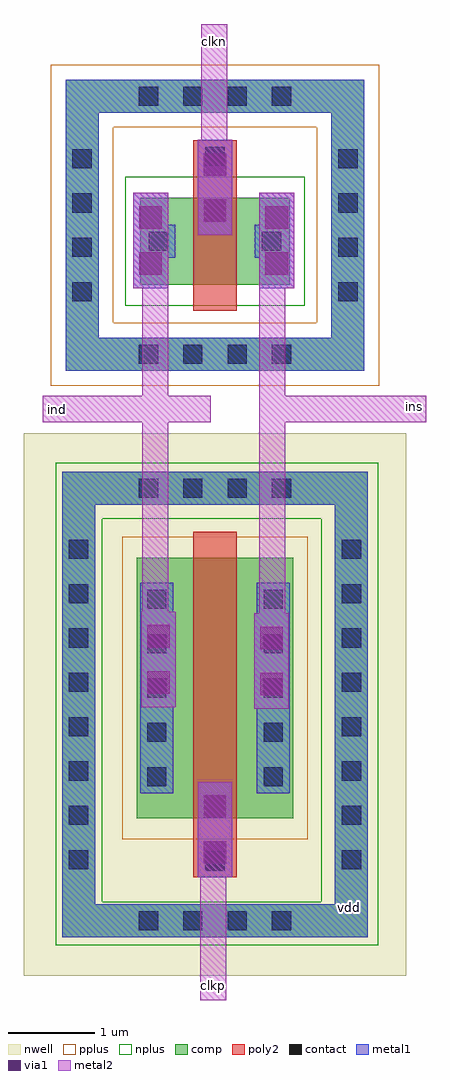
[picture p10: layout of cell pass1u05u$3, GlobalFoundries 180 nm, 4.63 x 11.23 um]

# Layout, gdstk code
import gdstk
lib = gdstk.Library(unit=1e-6, precision=5e-09)
def R(c, l, rs):  # rectangles x0, y0, x1, y1
    for r in rs: c.add(gdstk.rectangle(r[:2], r[2:], *l))
def A(c, l, x, y, w, h, nx, ny, dx, dy):  # array of equal rectangles
    R(c, l, [(x+i*dx, y+j*dy, x+i*dx+w, y+j*dy+h) for i in range(nx) for j in range(ny)])
def P(c, l, *ps):  # polygons
    for p in ps: c.add(gdstk.Polygon(p, *l))
nwell = (21, 0)
comp = (22, 0)
poly2 = (30, 0)
pplus = (31, 0)
nplus = (32, 0)
contact = (33, 0)
metal1 = (34, 0)
via1 = (35, 0)
metal2 = (36, 0)

via_dev_5 = lib.new_cell('via_dev$5')
R(via_dev_5, metal1, [(0,0,0.4,1.1)])
R(via_dev_5, via1, [(0.07,0.155,0.33,0.415), (0.07,0.685,0.33,0.945)])
R(via_dev_5, metal2, [(0,0,0.4,1.1)])

nfet_2 = lib.new_cell('nfet$2')
R(nfet_2, comp, [(-0.42,0,0,1), (0,0,0.88,1), (0.88,0,1.3,1)])
P(nfet_2, comp, [(-1.28,-1.36),(-1.28,1.61),(-0.9,1.61),(-0.9,-0.98),(1.78,-0.98),(1.78,1.61),(-1.28,1.61),(-1.28,1.99),(2.16,1.99),(2.16,-1.36)])
R(nfet_2, poly2, [(0.19,-0.66,0.69,-0.3), (0.19,-0.3,0.69,1.3)])
P(nfet_2, pplus, [(-1.45,-1.53),(-1.45,1.44),(-0.73,1.44),(-0.73,-0.81),(1.61,-0.81),(1.61,1.44),(-1.45,1.44),(-1.45,2.16),(2.33,2.16),(2.33,-1.53)])
R(nfet_2, nplus, [(-0.59,-0.24,1.47,1.24)])
A(nfet_2, contact, -0.435, -1.28, 0.22, 0.22, 4, 2, 0.51, 2.97)
A(nfet_2, contact, -1.2, -0.56, 0.22, 0.22, 1, 4, 0, 0.51)
A(nfet_2, contact, 1.86, -0.56, 0.22, 0.22, 1, 4, 0, 0.51)
R(nfet_2, contact, [(0.33,-0.59,0.55,-0.37), (-0.32,0.39,-0.1,0.61), (0.98,0.39,1.2,0.61)])
R(nfet_2, metal1, [(0.25,-0.67,0.63,-0.29), (-0.4,0.31,-0.02,0.69), (0.9,0.31,1.28,0.69)])

pfet_2 = lib.new_cell('pfet$2')
R(pfet_2, nwell, [(-1.76,-1.43,2.64,4.81)])
R(pfet_2, comp, [(-0.46,0,0,3), (0,0,0.88,3), (0.88,0,1.34,3)])
P(pfet_2, comp, [(-1.32,-0.99),(-1.32,3.99),(-0.94,3.99),(-0.94,-0.61),(1.82,-0.61),(1.82,3.99),(-1.32,3.99),(-1.32,4.37),(2.2,4.37),(2.2,-0.99)])
R(pfet_2, poly2, [(0.19,-0.3,0.69,3.3), (0.19,3.3,0.69,3.68)])
R(pfet_2, pplus, [(-0.63,-0.24,1.51,3.24)])
A(pfet_2, contact, -0.435, -0.91, 0.22, 0.22, 4, 2, 0.51, 4.98)
A(pfet_2, contact, -1.24, -0.205, 0.22, 0.22, 1, 8, 0, 0.51)
A(pfet_2, contact, 1.9, -0.205, 0.22, 0.22, 1, 8, 0, 0.51)
A(pfet_2, contact, -0.34, 0.37, 0.22, 0.22, 1, 5, 0, 0.51)
A(pfet_2, contact, 1, 0.37, 0.22, 0.22, 1, 5, 0, 0.51)
R(pfet_2, contact, [(0.33,3.38,0.55,3.6)])
R(pfet_2, metal1, [(-0.42,0.29,-0.04,2.71), (0.92,0.29,1.3,2.71), (0.25,3.3,0.63,3.68)])

pass1u05u_3 = lib.new_cell('pass1u05u$3')
R(pass1u05u_3, nplus, [(17.335,-2.335,21.045,-1.835), (20.385,-2.335,21.045,3.215), (17.335,-2.325,17.865,3.215), (17.335,2.575,21.045,3.215)])
R(pass1u05u_3, metal1, [(17.405,-2.245,17.785,3.115), (17.785,-2.245,20.545,-1.865), (20.545,-2.245,20.925,2.735), (17.785,2.735,20.925,3.115), (17.445,4.275,17.825,7.625), (17.825,4.275,20.505,4.655), (20.505,4.275,20.885,7.245), (17.825,7.245,20.885,7.625)])
pass1u05u_3.add(gdstk.FlexPath([(19.145,-1.175),(19.145,-2.965)], 0.3, ends="flush", simple_path=True, layer=36, datatype=0))  # metal2
pass1u05u_3.add(gdstk.FlexPath([(19.155,6.635),(19.155,8.265)], 0.3, ends="flush", simple_path=True, layer=36, datatype=0))  # metal2
pass1u05u_3.add(gdstk.FlexPath([(19.825,1.35),(19.825,6.325)], 0.3, ends="flush", simple_path=True, layer=36, datatype=0))  # metal2
pass1u05u_3.add(gdstk.FlexPath([(18.475,1.35),(18.475,6.325)], 0.3, ends="flush", simple_path=True, layer=36, datatype=0))  # metal2
pass1u05u_3.add(gdstk.FlexPath([(21.595,3.835),(19.675,3.835)], 0.3, ends="flush", simple_path=True, layer=36, datatype=0))  # metal2
pass1u05u_3.add(gdstk.FlexPath([(19.115,3.835),(17.185,3.835)], 0.3, ends="flush", simple_path=True, layer=36, datatype=0))  # metal2
pass1u05u_3.add(gdstk.Reference(via_dev_5, (18.965,6.935), x_reflection=True))
pass1u05u_3.add(gdstk.Reference(via_dev_5, (18.965,-0.455), x_reflection=True))
pass1u05u_3.add(gdstk.Reference(nfet_2, (18.725,6.265), x_reflection=True))
pass1u05u_3.add(gdstk.Reference(pfet_2, (18.725,2.125), x_reflection=True))
pass1u05u_3.add(gdstk.Reference(via_dev_5, (19.615,1.485), x_reflection=True))
pass1u05u_3.add(gdstk.Reference(via_dev_5, (18.315,1.505), x_reflection=True))
pass1u05u_3.add(gdstk.Reference(via_dev_5, (19.675,6.325), x_reflection=True))
pass1u05u_3.add(gdstk.Reference(via_dev_5, (18.225,6.325), x_reflection=True))
pass1u05u_3.add(gdstk.Label('vdd', (20.715,-1.905), layer=34, texttype=10))
pass1u05u_3.add(gdstk.Label('clkn', (19.155,8.065), layer=36, texttype=10))
pass1u05u_3.add(gdstk.Label('clkp', (19.145,-2.795), layer=36, texttype=10))
pass1u05u_3.add(gdstk.Label('ins', (21.455,3.865), layer=36, texttype=10))
pass1u05u_3.add(gdstk.Label('ind', (17.355,3.835), layer=36, texttype=10))

lib.write_gds('pass1u05u_3.gds')
